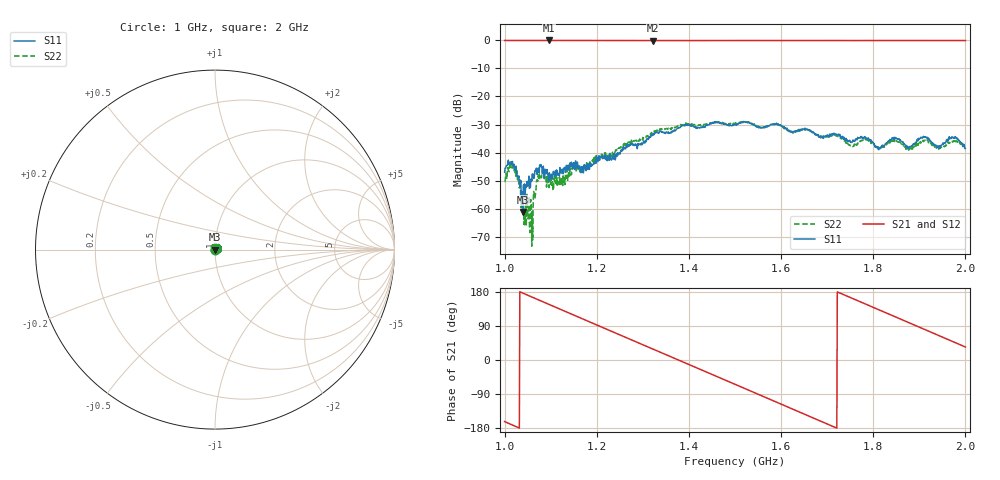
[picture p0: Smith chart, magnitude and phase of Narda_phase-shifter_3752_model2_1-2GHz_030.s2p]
#  HZ  S  DB  R  50.00
! Rohde & Schwarz Vector Network Analyzer
! Rohde-Schwarz,ZNB8-4Port,1311601044102961,2.82
! Created: UTC 1/17/2019, 2:49:18 PM
! freq[Hz]  db:S11  ang:S11  db:S21  ang:S21  db:S12  ang:S12  db:S22  ang:S22
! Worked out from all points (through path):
!   1001 points, 1 GHz to 2 GHz, reference 50 ohm
!   highest |S21| = -0.04 dB at 1.096 GHz (marker M1); lowest = -0.1 dB at 1.321 GHz (marker M2)
!   group delay of S21, straight-line fit = 1.45 ns
!   lowest |S11| = -61.2 dB at 1.04 GHz (marker M3), VSWR 1.00, Z = 49.9 + j0.00955 ohm
!   |S11| at or under -10 dB: start of sweep to end of sweep
!   |S22| runs from -73.4 to -29.0 dB; largest |S21 - S12| = 0.011
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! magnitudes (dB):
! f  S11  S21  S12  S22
! 1 GHz  -47.0  0.0  -0.1  -50.3
! 1.019 GHz  -44.2  0.0  -0.1  -44.3
! 1.029 GHz  -48.7  0.0  -0.1  -49.4
! 1.04 GHz  -61.2  0.0  -0.1  -62.0
! 1.053 GHz  -48.4  0.0  -0.1  -55.6
! 1.056 GHz  -52.3  0.0  -0.1  -56.9
! 1.074 GHz  -45.9  0.0  -0.1  -49.2
! 1.096 GHz  -50.0  0.0  -0.1  -52.5
! 1.167 GHz  -45.0  0.0  -0.1  -46.3
! 1.321 GHz  -33.9  -0.1  -0.1  -32.9
! 1.334 GHz  -32.8  -0.1  -0.1  -31.7
! 1.5 GHz  -30.0  -0.1  -0.1  -29.5
! 1.667 GHz  -32.5  -0.1  -0.1  -32.7
! 1.753 GHz  -36.3  -0.1  -0.1  -37.7
! 1.786 GHz  -35.3  -0.1  -0.1  -35.5
! 1.813 GHz  -38.7  -0.1  -0.1  -38.4
! 1.834 GHz  -36.0  -0.1  -0.1  -36.9
! 1.879 GHz  -37.8  -0.1  -0.1  -38.9
! 1.912 GHz  -34.6  -0.1  -0.1  -35.7
! 1.942 GHz  -38.5  -0.1  -0.1  -38.9
! 1.975 GHz  -34.5  -0.1  -0.1  -35.7
! 2 GHz  -38.5  -0.1  -0.1  -38.5
